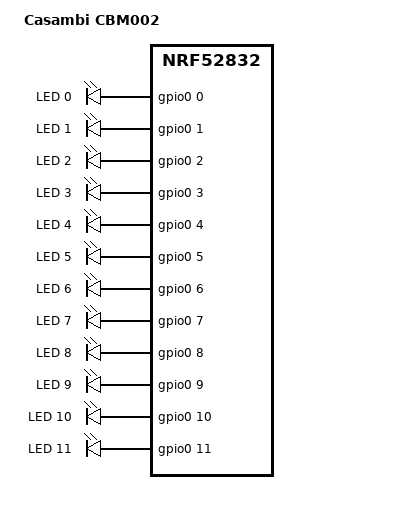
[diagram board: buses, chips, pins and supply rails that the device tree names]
// Copyright (c) 2023 Nordic Semiconductor ASA
// SPDX-License-Identifier: Apache-2.0

/dts-v1/;
#include <nordic/nrf52832_qfaa.dtsi>

/ {
	model = "Casambi CBM002";
	compatible = "casambi,cbm002";

	chosen {
		zephyr,sram = &sram0;
		zephyr,flash = &flash0;
		zephyr,code-partition = &slot0_partition;
	};

	leds {
		compatible = "gpio-leds";
		led0: led_0 {
			gpios = <&gpio0 0 GPIO_ACTIVE_HIGH>;
			label = "LED 0";
		};
		led1: led_1 {
			gpios = <&gpio0 1 GPIO_ACTIVE_HIGH>;
			label = "LED 1";
		};
		led2: led_2 {
			gpios = <&gpio0 2 GPIO_ACTIVE_HIGH>;
			label = "LED 2";
		};
		led3: led_3 {
			gpios = <&gpio0 3 GPIO_ACTIVE_HIGH>;
			label = "LED 3";
		};
		led4: led_4 {
			gpios = <&gpio0 4 GPIO_ACTIVE_HIGH>;
			label = "LED 4";
		};
		led5: led_5 {
			gpios = <&gpio0 5 GPIO_ACTIVE_HIGH>;
			label = "LED 5";
		};
		led6: led_6 {
			gpios = <&gpio0 6 GPIO_ACTIVE_HIGH>;
			label = "LED 6";
		};
		led7: led_7 {
			gpios = <&gpio0 7 GPIO_ACTIVE_HIGH>;
			label = "LED 7";
		};
		led8: led_8 {
			gpios = <&gpio0 8 GPIO_ACTIVE_HIGH>;
			label = "LED 8";
		};
		led9: led_9 {
			gpios = <&gpio0 9 GPIO_ACTIVE_HIGH>;
			label = "LED 9";
		};
		led10: led_10 {
			gpios = <&gpio0 10 GPIO_ACTIVE_HIGH>;
			label = "LED 10";
		};
		led11: led_11 {
			gpios = <&gpio0 11 GPIO_ACTIVE_HIGH>;
			label = "LED 11";
		};
	};

	/* These aliases are provided for compatibility with samples */
	aliases {
		led0 = &led0;
		led1 = &led1;
		led2 = &led2;
		led3 = &led3;
		led4 = &led4;
		led5 = &led5;
		led6 = &led6;
		led7 = &led7;
		led8 = &led8;
		led9 = &led9;
		led10 = &led10;
		led11 = &led11;
	};
};

&gpio0 {
	status = "okay";
};

&flash0 {
	partitions {
		compatible = "fixed-partitions";
		#address-cells = <1>;
		#size-cells = <1>;

		boot_partition: partition@0 {
			label = "mcuboot";
			reg = <0x0 0xc000>;
		};
		slot0_partition: partition@c000 {
			label = "image-0";
			reg = <0xc000 0x32000>;
		};
		slot1_partition: partition@3e000 {
			label = "image-1";
			reg = <0x3e000 0x32000>;
		};
		scratch_partition: partition@70000 {
			label = "image-scratch";
			reg = <0x70000 0xa000>;
		};
		storage_partition: partition@7a000 {
			label = "storage";
			reg = <0x7a000 0x6000>;
		};
	};
};

